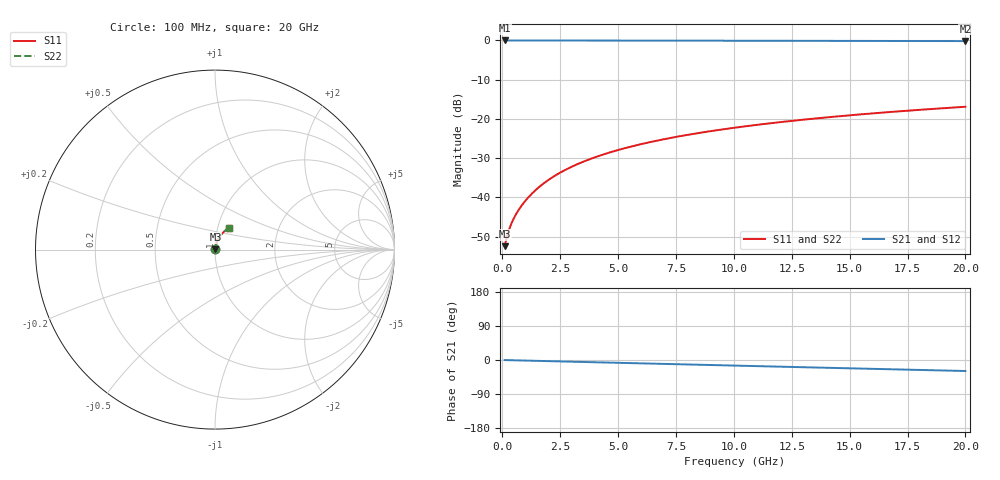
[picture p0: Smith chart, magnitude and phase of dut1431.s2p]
! Touchstone file exported from HFSS 2026.1.0
!  File:  C:/ffzhzh/LocalFiles/Ansys_Project_Files/temp_train_BSMRDL_1431_1783180380_51560.aedt
!  Generated:  11:54:10 PM Jul  4, 2026
!  Design:  BSMRDL
!  Project:  temp_train_BSMRDL_1431_1783180380_51560
! Variables:
!  h_bsmrdl = 3.19um
!  h_ox = 20um
!  h_rdl = 5um
!  h_sub = 80um
!  h_tmrdl = 5um
!  h_tsv = 80um
!  h_via = 3um
!  l_bsmrdl = 472.67um
!  l_sub = 872.67um
!  l_tmrdl = 200um
!  m_sub = 200um
!  pitch = 39.99um
!  r_tsv = 6um
!  s_tmrdl = 10um
!  w_bsmrdl = 29.22um
!  w_sub = 500um
!  w_tmrdl = 12um
!  x_tsv_center1 = 206um
!  x_tsv_center2 = 707.89um
!  x_tsv_center3 = 919.89um
!  x_tsv_center4 = 1421.78um
!  x_tsv_center5 = 1633.78um
!  x_tsv_center6 = 2135.67um
# GHz S MA R 50.000000
! Terminal data exported
! Port[1] = BSM_RDL1_1_T1
! Port[2] = BSM_RDL1_1_T2
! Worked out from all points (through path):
!   200 points, 100 MHz to 20 GHz, reference 50 ohm
!   highest |S21| = -0.02 dB at 100 MHz (marker M1); lowest = -0.2 dB at 20 GHz (marker M2)
!   group delay of S21, straight-line fit = 4.03 ps
!   lowest |S11| = -52.4 dB at 100 MHz (marker M3), VSWR 1.00, Z = 50.2 + j0.112 ohm
!   |S11| at or under -10 dB: start of sweep to end of sweep
!   |S22| runs from -52.4 to -16.9 dB; largest |S21 - S12| = 4.5e-15
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0.1  0.002392 27.7  0.9979 -0.2  0.9979 -0.2  0.002392 27.7
! Gamma 0 0 0 0
! Port Impedance 50 0 50 0
0.2  0.003142 42.4  0.9977 -0.3  0.9977 -0.3  0.003142 42.4
0.3  0.003939 49.8  0.9975 -0.5  0.9975 -0.5  0.003939 49.8
0.4  0.004702 54.4  0.9973 -0.6  0.9973 -0.6  0.004701 54.4
0.5  0.005435 57.8  0.9972 -0.8  0.9972 -0.8  0.005435 57.8
0.6  0.006156 60.6  0.9971 -0.9  0.9971 -0.9  0.006156 60.6
0.8  0.007602 64.9  0.9969 -1.2  0.9969 -1.2  0.007601 64.9
1  0.009074 68.1  0.9968 -1.5  0.9968 -1.5  0.009074 68.1
1.2  0.01057 70.4  0.9967 -1.8  0.9967 -1.8  0.01057 70.4
1.7  0.01441 73.9  0.9965 -2.6  0.9965 -2.6  0.01441 73.9
2.2  0.01832 75.6  0.9963 -3.3  0.9963 -3.3  0.01832 75.6
2.8  0.02302 76.5  0.996 -4.2  0.996 -4.2  0.02302 76.5
3.5  0.02851 76.8  0.9956 -5.2  0.9956 -5.2  0.02851 76.8
4.2  0.03396 76.5  0.9952 -6.3  0.9952 -6.3  0.03396 76.5
5  0.04013 76.0  0.9946 -7.5  0.9946 -7.5  0.04013 76.0
5.9  0.04699 75.1  0.9939 -8.8  0.9939 -8.8  0.04699 75.1
6.8  0.05374 74.1  0.9931 -10.1  0.9931 -10.1  0.05374 74.1
8.3  0.06477 72.2  0.9917 -12.3  0.9917 -12.3  0.06477 72.3
10.1  0.07767 69.9  0.99 -14.9  0.99 -14.9  0.07767 70.0
13.4  0.1004 65.6  0.9867 -19.6  0.9867 -19.6  0.1004 65.7
16.7  0.1221 61.3  0.9832 -24.4  0.9832 -24.4  0.1221 61.3
20  0.1426 56.9  0.9796 -29.0  0.9796 -29.0  0.1426 57.0
